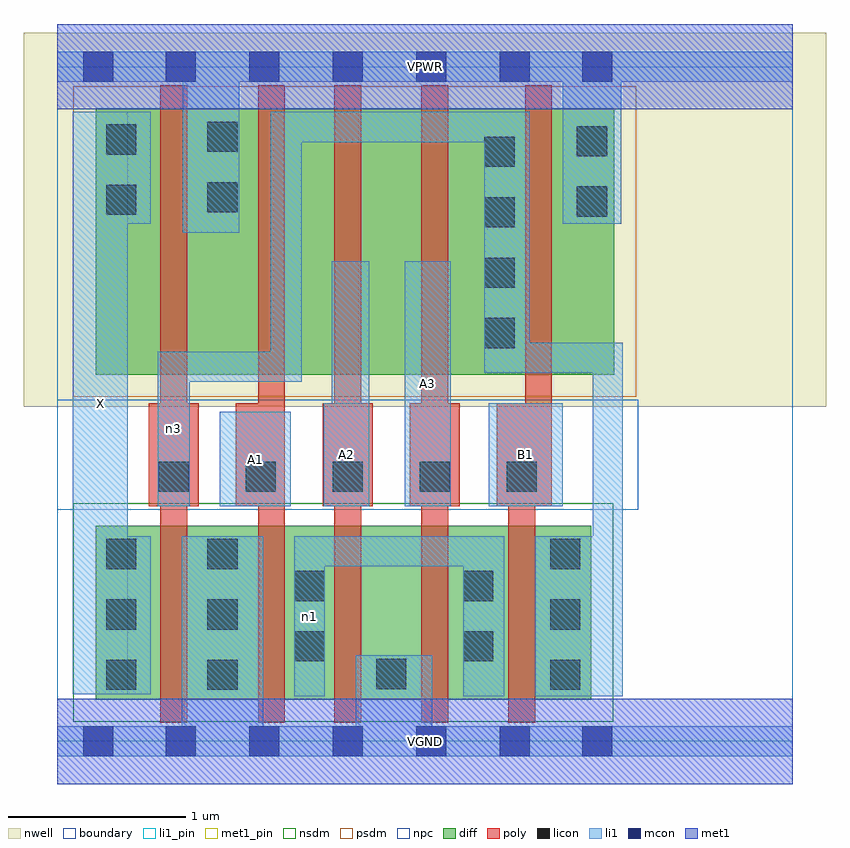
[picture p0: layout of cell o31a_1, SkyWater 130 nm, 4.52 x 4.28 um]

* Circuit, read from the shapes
.subckt o31a_1 A1 A2 A3 B1 VGND VPWR X n1 n3
XM1 VGND n3 X VSUBS sky130_fd_pr__nfet_01v8 w=0.98 l=0.15
XM2 n1 A1 VGND VSUBS sky130_fd_pr__nfet_01v8 w=0.98 l=0.15
XM3 VGND A2 n1 VSUBS sky130_fd_pr__nfet_01v8 w=0.98 l=0.15
XM4 n1 A3 VGND VSUBS sky130_fd_pr__nfet_01v8 w=0.98 l=0.15
XM5 n3 B1 n1 VSUBS sky130_fd_pr__nfet_01v8 w=0.98 l=0.15
XM6 VPWR n3 X n2 sky130_fd_pr__pfet_01v8 w=1.5 l=0.15
XM7 n4 A1 VPWR n2 sky130_fd_pr__pfet_01v8 w=1.5 l=0.15
XM8 n5 A2 n4 n2 sky130_fd_pr__pfet_01v8 w=1.5 l=0.15
XM9 n3 A3 n5 n2 sky130_fd_pr__pfet_01v8 w=1.5 l=0.15
XM10 VPWR B1 n3 n2 sky130_fd_pr__pfet_01v8 w=1.5 l=0.15
.ends

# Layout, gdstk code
import gdstk
lib = gdstk.Library(unit=1e-6, precision=1e-09)
def R(c, l, rs):  # rectangles x0, y0, x1, y1
    for r in rs: c.add(gdstk.rectangle(r[:2], r[2:], *l))
def A(c, l, x, y, w, h, nx, ny, dx, dy):  # array of equal rectangles
    R(c, l, [(x+i*dx, y+j*dy, x+i*dx+w, y+j*dy+h) for i in range(nx) for j in range(ny)])
nwell = (64, 20)
diff = (65, 20)
poly = (66, 20)
licon = (66, 44)
li1_pin = (67, 16)
li1 = (67, 20)
mcon = (67, 44)
met1_pin = (68, 16)
met1 = (68, 20)
nsdm = (93, 44)
psdm = (94, 20)
npc = (95, 20)
boundary = (235, 4)

o31a_1 = lib.new_cell('o31a_1')
R(o31a_1, nwell, [(-0.19,1.885,4.33,3.99), (0,1.885,4.14,3.99)])
R(o31a_1, diff, [(0.215,0.235,3.005,1.215), (0.215,2.065,3.135,3.565)])
R(o31a_1, poly, [(0.58,0.105,0.73,3.695), (1.13,0.105,1.28,3.695), (1.56,0.105,1.71,3.695), (2.05,0.105,2.2,3.695), (2.54,0.105,2.69,1.905), (0.515,1.325,0.795,1.905), (1.005,1.325,1.28,1.905), (1.495,1.325,1.775,1.905), (1.985,1.325,2.265,1.905), (2.475,1.325,2.785,1.905), (2.635,1.325,2.785,3.695)])
A(o31a_1, licon, 0.275, 0.29, 0.17, 0.17, 1, 3, 0, 0.34)
A(o31a_1, licon, 0.845, 0.29, 0.17, 0.17, 1, 3, 0, 0.34)
A(o31a_1, licon, 2.775, 0.29, 0.17, 0.17, 1, 3, 0, 0.34)
A(o31a_1, licon, 0.57, 1.405, 0.17, 0.17, 5, 1, 0.49, 0)
A(o31a_1, licon, 2.405, 2.215, 0.17, 0.17, 1, 4, 0, 0.34)
R(o31a_1, licon, [(1.795,0.295,1.965,0.465), (1.335,0.45,1.505,0.62), (2.285,0.45,2.455,0.62), (1.335,0.79,1.505,0.96), (2.285,0.79,2.455,0.96), (2.925,2.955,3.095,3.125), (0.275,2.965,0.445,3.135), (0.845,2.98,1.015,3.15), (2.925,3.295,3.095,3.465), (0.275,3.305,0.445,3.475), (0.845,3.32,1.015,3.49)])
R(o31a_1, li1_pin, [(0.085,0.265,0.395,3.545), (0.915,1.325,1.315,1.855), (1.5,1.325,1.755,1.905), (1.955,1.325,2.215,2.705), (2.43,1.325,2.845,1.905)])
R(o31a_1, li1, [(0,-0.085,4.14,0.085), (0.7,-0.085,1.16,1.155), (1.68,-0.085,2.11,0.485), (1.335,0.255,1.505,1.155), (2.285,0.255,2.515,1.155), (2.69,0.255,3.185,1.155), (3.015,0.255,3.185,2.245), (0.085,0.265,0.395,3.545), (0.085,0.265,0.525,1.155), (1.335,0.985,2.515,1.155), (0.565,1.325,0.745,2.195), (0.915,1.325,1.315,1.855), (1.5,1.325,1.755,1.905), (1.545,1.325,1.755,2.705), (1.955,1.325,2.215,2.705), (2.43,1.325,2.845,1.905), (0.565,2.025,1.375,2.195), (1.2,2.025,1.375,3.545), (2.405,2.075,2.66,3.545), (2.405,2.075,3.185,2.245), (0.705,2.865,1.025,3.885), (0.085,2.915,0.525,3.545), (2.845,2.915,3.175,3.885), (1.2,3.375,2.66,3.545), (0,3.715,4.14,3.885)])
A(o31a_1, mcon, 0.61, -0.085, 0.17, 0.17, 5, 2, 0.47, 3.8)
R(o31a_1, mcon, [(0.145,-0.085,0.315,0.085), (2.955,-0.085,3.125,0.085), (0.145,3.715,0.315,3.885), (2.955,3.715,3.125,3.885)])
R(o31a_1, met1_pin, [(0,-0.24,4.14,0.24), (0,3.56,4.14,4.04)])
R(o31a_1, met1, [(0,-0.24,4.14,0.24), (0,3.56,4.14,4.04)])
R(o31a_1, nsdm, [(0.09,0.11,3.13,1.34)])
R(o31a_1, psdm, [(0.09,1.94,3.26,3.69)])
R(o31a_1, npc, [(0,1.305,3.27,1.925)])
R(o31a_1, boundary, [(0,0,4.14,3.8)])
o31a_1.add(gdstk.Label('A1', (1.115,1.59), layer=67, texttype=5))
o31a_1.add(gdstk.Label('A2', (1.627,1.615), layer=67, texttype=5))
o31a_1.add(gdstk.Label('A3', (2.085,2.015), layer=67, texttype=5))
o31a_1.add(gdstk.Label('B1', (2.637,1.615), layer=67, texttype=5))
o31a_1.add(gdstk.Label('X', (0.24,1.905), layer=67, texttype=5))
o31a_1.add(gdstk.Label('n1', (1.42,0.705), layer=67, texttype=5))
o31a_1.add(gdstk.Label('n3', (0.655,1.76), layer=67, texttype=5))
o31a_1.add(gdstk.Label('VPWR', (2.07,3.8), layer=68, texttype=5))
o31a_1.add(gdstk.Label('VGND', (2.07,0), layer=68, texttype=5))
o31a_1.add(gdstk.Label('A1', (1.115,1.59), layer=67, texttype=16))
o31a_1.add(gdstk.Label('A2', (1.627,1.615), layer=67, texttype=16))
o31a_1.add(gdstk.Label('A3', (2.085,2.015), layer=67, texttype=16))
o31a_1.add(gdstk.Label('B1', (2.637,1.615), layer=67, texttype=16))
o31a_1.add(gdstk.Label('X', (0.24,1.905), layer=67, texttype=16))
o31a_1.add(gdstk.Label('VPWR', (2.07,3.8), layer=68, texttype=16))
o31a_1.add(gdstk.Label('VGND', (2.07,0), layer=68, texttype=16))

lib.write_gds('o31a_1.gds')
